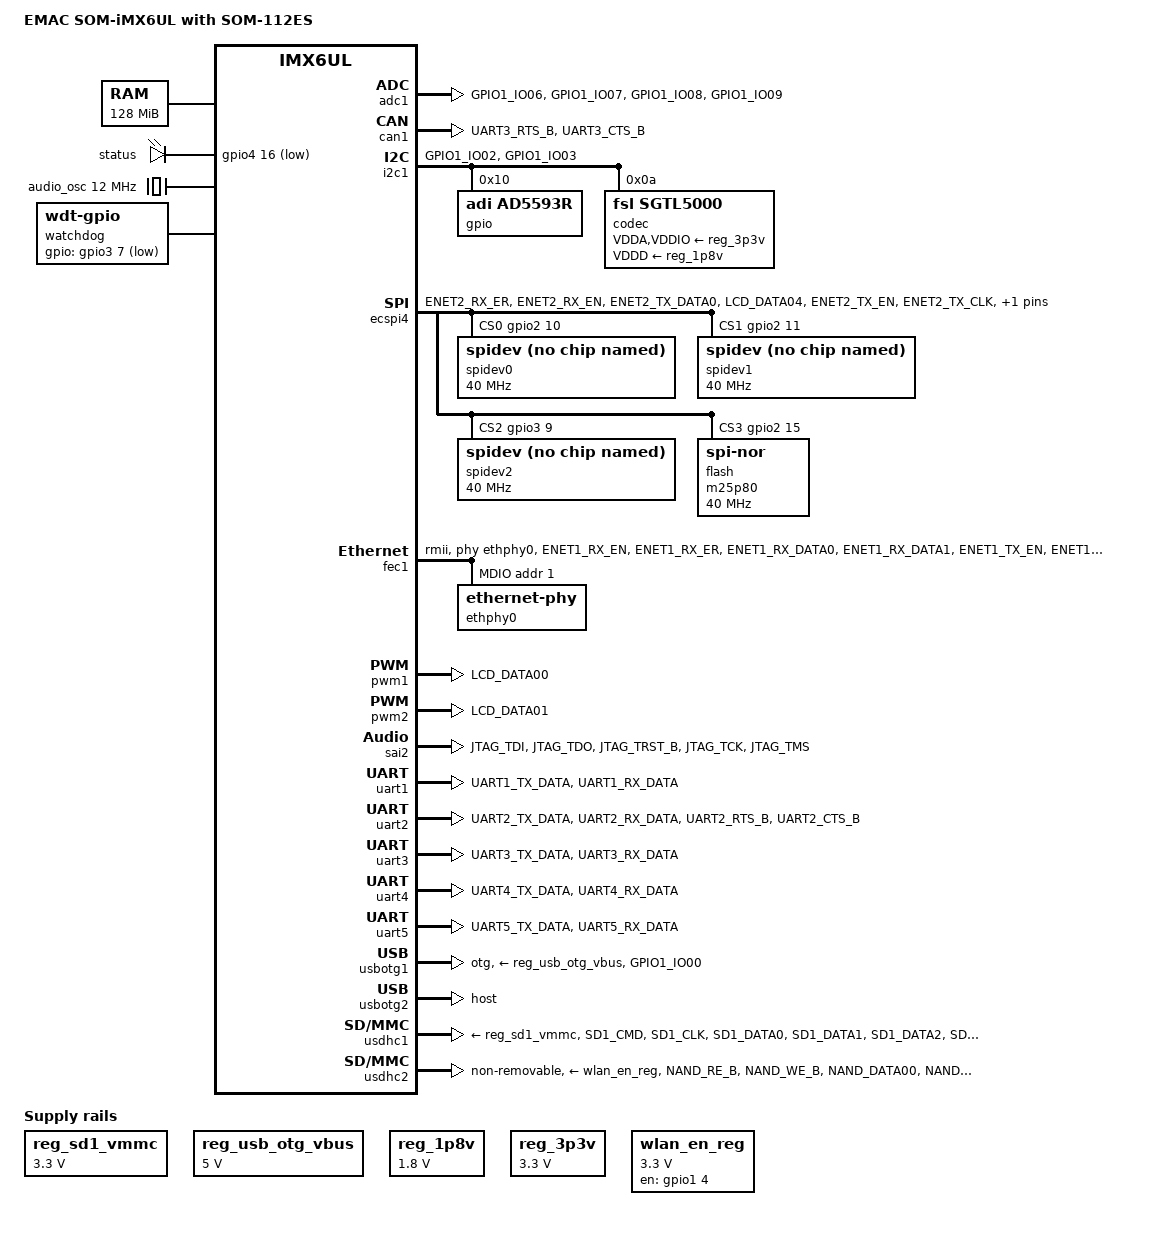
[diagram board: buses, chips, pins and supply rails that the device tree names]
/*
 * Copyright (C) 2016 EMAC Inc.
 *
 * This program is free software; you can redistribute it and/or modify
 * it under the terms of the GNU General Public License version 2 as
 * published by the Free Software Foundation.
 */

/dts-v1/;

#include "imx6ul.dtsi"
#include <dt-bindings/iio/adi,ad5592r.h>

/ {
	model = "EMAC SOM-iMX6UL with SOM-112ES";
	compatible = "emac,som-imx6ul-150es", "fsl,imx6ul";

	chosen {
		stdout-path = &uart1;
	};

	memory {
		device_type = "memory";
		reg = <0x80000000 0x8000000>;
	};

	leds {
		compatible = "gpio-leds";
		stat {
			label = "status";
			gpios = <&gpio4 16 GPIO_ACTIVE_LOW>;
			default-state = "on";
		};
	};

	regulators {
		compatible = "simple-bus";
		#address-cells = <1>;
		#size-cells = <0>;

		reg_sd1_vmmc: sd1_regulator {
			compatible = "regulator-fixed";
			regulator-name = "VSD_3V3";
			regulator-min-microvolt = <3300000>;
			regulator-max-microvolt = <3300000>;
			regulator-always-on;
		};

		reg_usb_otg_vbus: regulator-usb-otg-vbus {
			compatible = "regulator-fixed";
			pinctrl-names = "default";
			regulator-name = "usb_otg_vbus";
			regulator-min-microvolt = <5000000>;
			regulator-max-microvolt = <5000000>;
			regulator-always-on;
		};

		reg_1p8v: regulator-1p8v {
			compatible = "regulator-fixed";
			regulator-name = "1P8V";
			regulator-min-microvolt = <1800000>;
			regulator-max-microvolt = <1800000>;
			regulator-boot-on;
			regulator-always-on;
		};

		reg_3p3v: regulator-3p3v {
			compatible = "regulator-fixed";
			regulator-name = "3P3V";
			regulator-min-microvolt = <3300000>;
			regulator-max-microvolt = <3300000>;
			regulator-always-on;
		};

		wlan_en_reg: regulator@1 {
			compatible = "regulator-fixed";
			regulator-name = "wlan-en-regulator";
			regulator-min-microvolt = <3300000>;
			regulator-max-microvolt = <3300000>;
			gpio = <&gpio1 4 1>;
			regulator-always-on;
			startup-delay-us = <2000>;
			enable-active-high;
               };
	};

	clocks {
		audio_osc: audio_osc {
			compatible = "fixed-clock";
			#clock-cells = <0>;
			clock-frequency = <12000000>;
		};
	};

	sound {
		compatible = "fsl,imx-audio-sgtl5000";
		model = "imx6ul-sgtl5000";
		ssi-controller = <&sai2>;
		audio-codec = <&codec>;
		audio-routing =
			"LINE_IN", "Line In Jack",
			"Headphone Jack", "HP_OUT";
		mux-int-port = <1>;
		mux-ext-port = <3>;
	};

	watchdog: watchdog {
		compatible = "linux,wdt-gpio";
		gpios = <&gpio3 7 GPIO_ACTIVE_LOW>;
		hw_algo = "toggle";
		hw_margin_ms = <1000>;
	};

};

&adc1 {
	pinctrl-names = "default";
	pinctrl-0 = <&pinctrl_adc1>;
	status = "okay";
};

&can1 {
	pinctrl-names = "default";
	pinctrl-0 = <&pinctrl_flexcan1>;
	status = "okay";
};

&clks {
	assigned-clocks = <&clks IMX6UL_CLK_PLL4_AUDIO_DIV>;
	assigned-clock-rates = <786432000>;
};

&cpu0 {
	arm-supply = <&reg_arm>;
	soc-supply = <&reg_soc>;
};

&i2c1 {
	clock_frequency = <100000>;
	pinctrl-names = "default";
	pinctrl-0 = <&pinctrl_i2c1>;
	status = "okay";

	gpio: ad5593r@10 {
		#size-cells = <0>;
		#address-cells = <1>;
		#gpio-cells = <2>;
		compatible = "adi,ad5593r";
		reg = <0x10>;
		gpio-controller;

		channel@0 {
			reg = <0>;
			adi,mode = <CH_MODE_GPIO>;
			adi,off-state = <CH_OFFSTATE_PULLDOWN>;
		};
		channel@1 {
			reg = <1>;
			adi,mode = <CH_MODE_GPIO>;
			adi,off-state = <CH_OFFSTATE_PULLDOWN>;
		};
		channel@2 {
			reg = <2>;
			adi,mode = <CH_MODE_GPIO>;
			adi,off-state = <CH_OFFSTATE_PULLDOWN>;
		};
		channel@3 {
			reg = <3>;
			adi,mode = <CH_MODE_GPIO>;
			adi,off-state = <CH_OFFSTATE_PULLDOWN>;
		};
		channel@4 {
			reg = <4>;
			adi,mode = <CH_MODE_DAC_AND_ADC>;
			adi,off-state = <CH_OFFSTATE_PULLDOWN>;
		};

		channel@5 {
			reg = <5>;
			adi,mode = <CH_MODE_DAC_AND_ADC>;
			adi,off-state = <CH_OFFSTATE_PULLDOWN>;
		};

		channel@6 {
			reg = <6>;
			adi,mode = <CH_MODE_DAC_AND_ADC>;
			adi,off-state = <CH_OFFSTATE_PULLDOWN>;
		};

		channel@7 {
			reg = <7>;
			adi,mode = <CH_MODE_DAC_AND_ADC>;
			adi,off-state = <CH_OFFSTATE_PULLDOWN>;
		};

	};

	codec: sgtl5000@0a {
		#sound-dai-cells = <0>;
		reg = <0x0a>;
		compatible = "fsl,sgtl5000";
		clocks = <&audio_osc>;
		VDDA-supply = <&reg_3p3v>;
		VDDIO-supply = <&reg_3p3v>;
		VDDD-supply = <&reg_1p8v>;
	};
};

&ecspi4 {
	pinctrl-names = "default";
	pinctrl-0 = <&pinctrl_ecspi4>;
	fsl,spi-num-chipselects = <4>;
	cs-gpios = <
		&gpio2 10 GPIO_ACTIVE_HIGH
		&gpio2 11 GPIO_ACTIVE_HIGH
		&gpio3  9 GPIO_ACTIVE_HIGH
		&gpio2 15 GPIO_ACTIVE_HIGH
	>;
	status = "okay";

	spidev0: spidev@0 {
		compatible = "emac,spidev";
		reg = <0>;
		spi-max-frequency = <40000000>;
		status = "okay";
	};

	spidev1: spidev@1 {
		compatible = "emac,spidev";
		reg = <1>;
		spi-max-frequency = <40000000>;
		status = "okay";
	};

	spidev2: spidev@2 {
		compatible = "emac,spidev";
		reg = <2>;
		spi-max-frequency = <40000000>;
		status = "okay";
	};

	flash: m25p80@3 {
		compatible = "jedec,spi-nor";
		spi-max-frequency = <40000000>;
		reg = <3>;
		status = "okay";
	};
};

&fec1 {
	pinctrl-names = "default";
	pinctrl-0 = <&pinctrl_enet1>;
	phy-mode = "rmii";
	phy-handle = <&ethphy0>;
	status = "okay";

	mdio {
		#address-cells = <1>;
		#size-cells = <0>;

		ethphy0: ethernet-phy@1 {
			reg = <1>;
		};
	};
};

&pwm1 {
	pinctrl-names = "default";
	pinctrl-0 = <&pinctrl_pwm1>;
	status = "okay";
};

&pwm2 {
	pinctrl-names = "default";
	pinctrl-0 = <&pinctrl_pwm2>;
	status = "okay";
};

&sai2 {
	pinctrl-names = "default";
	pinctrl-0 = <&pinctrl_sai2>;
	assigned-clocks = <&clks IMX6UL_CLK_SAI2_SEL>,
			  <&clks IMX6UL_CLK_SAI2>;
	assigned-clock-parents = <&clks IMX6UL_CLK_PLL4_AUDIO_DIV>;
	assigned-clock-rates = <0>, <12288000>;
	fsl,sai-mclk-direction-output;
	status = "okay";
};

&snvs_poweroff {
	status = "okay";
};

&uart1 {
	pinctrl-names = "default";
	pinctrl-0 = <&pinctrl_uart1>;
	fsl,uart-has-rtscts;
	status = "okay";
};

&uart2 {
	pinctrl-names = "default";
	pinctrl-0 = <&pinctrl_uart2>;
	fsl,uart-has-rtscts;
	status = "okay";
};

&uart3 {
	pinctrl-names = "default";
	pinctrl-0 = <&pinctrl_uart3>;
	status = "okay";
};

&uart4 {
	pinctrl-names = "default";
	pinctrl-0 = <&pinctrl_uart4>;
	status = "okay";
};

&uart5 {
	pinctrl-names = "default";
	pinctrl-0 = <&pinctrl_uart5>;
	status = "okay";
};

&usbotg1 {
	vbus-supply = <&reg_usb_otg_vbus>;
	pinctrl-names = "default";
	pinctrl-0 = <&pinctrl_usb_otg1_id>;
	dr_mode = "otg";
	srp-disable;
	hnp-disable;
	adp-disable;
	status = "okay";
};

&usbotg2 {
	dr_mode = "host";
	disable-over-current;
	status = "okay";
};

&usdhc1 {
	pinctrl-names = "default", "state_100mhz", "state_200mhz";
	pinctrl-0 = <&pinctrl_usdhc1>;
	pinctrl-1 = <&pinctrl_usdhc1_100mhz>;
	keep-power-in-suspend;
	vmmc-supply = <&reg_sd1_vmmc>;
	status = "okay";
};

&usdhc2 {
	pinctrl-names = "default";
	pinctrl-0 = <&pinctrl_usdhc2>;
	vmmc-supply = <&wlan_en_reg>;
	keep-power-in-suspend;
	cap-power-off-card;
	non-removable;
	//interrupt-parent = <&gpio3>;
	//interrupts = <4 IRQ_TYPE_NONE>;
	wakeup-source;
	status = "okay";
};

&iomuxc {
	pinctrl-names = "default";

	pinctrl_adc1: adc1grp {
		fsl,pins = <
			MX6UL_PAD_GPIO1_IO06__GPIO1_IO06	0xb0
			MX6UL_PAD_GPIO1_IO07__GPIO1_IO07	0xb0
			MX6UL_PAD_GPIO1_IO08__GPIO1_IO08	0xb0
			MX6UL_PAD_GPIO1_IO09__GPIO1_IO09	0xb0
		>;
	};

	pinctrl_ecspi4: ecspi4grp {
		fsl,pins = <
			MX6UL_PAD_ENET2_RX_ER__GPIO2_IO15	0x0b0b0
			MX6UL_PAD_ENET2_RX_EN__GPIO2_IO10	0x0b0b0
			MX6UL_PAD_ENET2_TX_DATA0__GPIO2_IO11	0x0b0b0
			MX6UL_PAD_LCD_DATA04__GPIO3_IO09	0x0b0b0
			MX6UL_PAD_ENET2_TX_EN__ECSPI4_MOSI	0x0b0b0
			MX6UL_PAD_ENET2_TX_CLK__ECSPI4_MISO	0x0b0b0
			MX6UL_PAD_ENET2_TX_DATA1__ECSPI4_SCLK	0x0b0b0
		>;
	};

	pinctrl_enet1: enet1grp {
		fsl,pins = <
			MX6UL_PAD_ENET1_RX_EN__ENET1_RX_EN	0x1b0b0
			MX6UL_PAD_ENET1_RX_ER__ENET1_RX_ER	0x1b0b0
			MX6UL_PAD_ENET1_RX_DATA0__ENET1_RDATA00	0x1b0b0
			MX6UL_PAD_ENET1_RX_DATA1__ENET1_RDATA01	0x1b0b0
			MX6UL_PAD_ENET1_TX_EN__ENET1_TX_EN	0x1b0b0
			MX6UL_PAD_ENET1_TX_DATA0__ENET1_TDATA00	0x1b0b0
			MX6UL_PAD_ENET1_TX_DATA1__ENET1_TDATA01	0x1b0b0
			MX6UL_PAD_ENET1_TX_CLK__ENET1_REF_CLK1	0x4001b031
		>;
	};

	pinctrl_flexcan1: flexcan1grp {
		fsl,pins = <
			MX6UL_PAD_UART3_RTS_B__FLEXCAN1_RX	0x0b0b0
			MX6UL_PAD_UART3_CTS_B__FLEXCAN1_TX	0x0b0b0
		>;
	};

	pinctrl_i2c1: i2c1grp {
		fsl,pins = <
			MX6UL_PAD_GPIO1_IO02__I2C1_SCL		0x4001b8b0
			MX6UL_PAD_GPIO1_IO03__I2C1_SDA		0x4001b8b0
		>;
	};

	pinctrl_i2c2: i2c2grp {
		fsl,pins = <
			MX6UL_PAD_UART5_TX_DATA__I2C2_SCL	0x4001b8b0
			MX6UL_PAD_UART5_RX_DATA__I2C2_SDA 	0x4001b8b0
		>;
	};

	pinctrl_sai2: sai2grp {
		fsl,pins = <
			MX6UL_PAD_JTAG_TDI__SAI2_TX_BCLK	0x17088
			MX6UL_PAD_JTAG_TDO__SAI2_TX_SYNC	0x17088
			MX6UL_PAD_JTAG_TRST_B__SAI2_TX_DATA	0x11088
			MX6UL_PAD_JTAG_TCK__SAI2_RX_DATA	0x11088
			MX6UL_PAD_JTAG_TMS__SAI2_MCLK		0x17088
		>;
	};

	pinctrl_pwm1: pwm1grp {
		fsl,pins = <
			MX6UL_PAD_LCD_DATA00__PWM1_OUT		0x110b0
		>;
	};

	pinctrl_pwm2: pwm2grp {
		fsl,pins = <
			MX6UL_PAD_LCD_DATA01__PWM2_OUT		0x110b0
		>;
	};

	pinctrl_usb_otg1_id: usbotg1idgrp {
		fsl,pins = <
			MX6UL_PAD_GPIO1_IO00__ANATOP_OTG1_ID	0x17059
		>;
	};

	pinctrl_uart1: uart1grp {
		fsl,pins = <
			MX6UL_PAD_UART1_TX_DATA__UART1_DCE_TX 0x1b0b1
			MX6UL_PAD_UART1_RX_DATA__UART1_DCE_RX 0x1b0b1
		>;
	};

	pinctrl_uart2: uart2grp {
		fsl,pins = <
			MX6UL_PAD_UART2_TX_DATA__UART2_DCE_TX	0x1b0b1
			MX6UL_PAD_UART2_RX_DATA__UART2_DCE_RX	0x1b0b1
			MX6UL_PAD_UART2_RTS_B__UART2_DCE_RTS	0x1b0b1
			MX6UL_PAD_UART2_CTS_B__UART2_DCE_CTS	0x1b0b1
		>;
	};

	pinctrl_uart3: uart3grp {
		fsl,pins = <
			MX6UL_PAD_UART3_TX_DATA__UART3_DCE_TX 0x1b0b1
			MX6UL_PAD_UART3_RX_DATA__UART3_DCE_RX 0x1b0b1
		>;
	};

	pinctrl_uart4: uart4grp {
		fsl,pins = <
			MX6UL_PAD_UART4_TX_DATA__UART4_DCE_TX 0x1b0b1
			MX6UL_PAD_UART4_RX_DATA__UART4_DCE_RX 0x1b0b1
		>;
	};

	pinctrl_uart5: uart5grp {
		fsl,pins = <
			MX6UL_PAD_UART5_TX_DATA__UART5_DCE_TX 0x1b0b1
			MX6UL_PAD_UART5_RX_DATA__UART5_DCE_RX 0x1b0b1
		>;
	};

	pinctrl_usdhc1: usdhc1grp {
		fsl,pins = <
			MX6UL_PAD_SD1_CMD__USDHC1_CMD     	0x17059
			MX6UL_PAD_SD1_CLK__USDHC1_CLK     	0x10059
			MX6UL_PAD_SD1_DATA0__USDHC1_DATA0 	0x17059
			MX6UL_PAD_SD1_DATA1__USDHC1_DATA1 	0x17059
			MX6UL_PAD_SD1_DATA2__USDHC1_DATA2 	0x17059
			MX6UL_PAD_SD1_DATA3__USDHC1_DATA3 	0x17059
		>;
	};

	pinctrl_usdhc1_100mhz: usdhc1grp100mhz {
		fsl,pins = <
			MX6UL_PAD_SD1_CMD__USDHC1_CMD     0x170b9
			MX6UL_PAD_SD1_CLK__USDHC1_CLK     0x100b9
			MX6UL_PAD_SD1_DATA0__USDHC1_DATA0 0x170b9
			MX6UL_PAD_SD1_DATA1__USDHC1_DATA1 0x170b9
			MX6UL_PAD_SD1_DATA2__USDHC1_DATA2 0x170b9
			MX6UL_PAD_SD1_DATA3__USDHC1_DATA3 0x170b9

		>;
	};

	pinctrl_usdhc1_200mhz: usdhc1grp200mhz {
		fsl,pins = <
			MX6UL_PAD_SD1_CMD__USDHC1_CMD     0x170f9
			MX6UL_PAD_SD1_CLK__USDHC1_CLK     0x100f9
			MX6UL_PAD_SD1_DATA0__USDHC1_DATA0 0x170f9
			MX6UL_PAD_SD1_DATA1__USDHC1_DATA1 0x170f9
			MX6UL_PAD_SD1_DATA2__USDHC1_DATA2 0x170f9
			MX6UL_PAD_SD1_DATA3__USDHC1_DATA3 0x170f9
		>;
	};

	pinctrl_usdhc2: usdhc2grp {
		fsl,pins = <
			MX6UL_PAD_NAND_RE_B__USDHC2_CLK     0x17070
			MX6UL_PAD_NAND_WE_B__USDHC2_CMD     0x17070
			MX6UL_PAD_NAND_DATA00__USDHC2_DATA0 0x17070
			MX6UL_PAD_NAND_DATA01__USDHC2_DATA1 0x17070
			MX6UL_PAD_NAND_DATA02__USDHC2_DATA2 0x17070
			MX6UL_PAD_NAND_DATA03__USDHC2_DATA3 0x17070
		>;
	};
};
